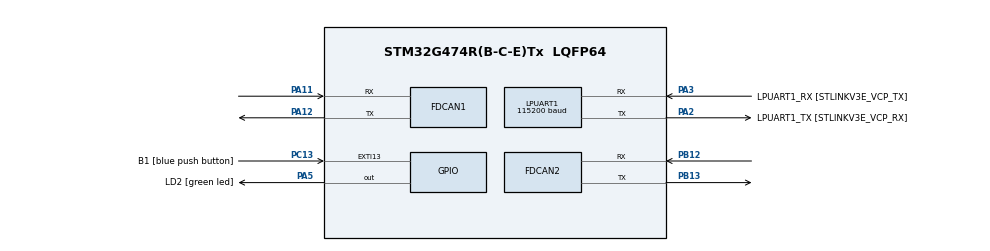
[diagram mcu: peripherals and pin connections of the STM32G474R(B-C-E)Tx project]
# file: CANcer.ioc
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FDCAN1.NominalPrescaler=3
FDCAN1.NominalSyncJumpWidth=8
FDCAN1.NominalTimeSeg1=35
FDCAN1.NominalTimeSeg2=20
FDCAN1.StdFiltersNbr=1
FDCAN2.NominalPrescaler=3
FDCAN2.NominalSyncJumpWidth=8
FDCAN2.NominalTimeSeg1=35
FDCAN2.NominalTimeSeg2=20
FDCAN2.StdFiltersNbr=1
LPUART1.BaudRate=115200
LPUART1.WordLength=UART_WORDLENGTH_8B
Mcu.Family=STM32G4
Mcu.Name=STM32G474R(B-C-E)Tx
Mcu.Package=LQFP64
NVIC.EXTI15_10_IRQn=true\:0\:0\:false\:false\:true\:true\:true
NVIC.FDCAN1_IT0_IRQn=true\:0\:0\:false\:false\:true\:true\:true
NVIC.FDCAN1_IT1_IRQn=true\:0\:0\:false\:false\:true\:true\:true
NVIC.FDCAN2_IT0_IRQn=true\:0\:0\:false\:false\:true\:true\:true
NVIC.FDCAN2_IT1_IRQn=true\:0\:0\:false\:false\:true\:true\:true
NVIC.PriorityGroup=NVIC_PRIORITYGROUP_4
PA11.Mode=FDCAN_Activate
PA11.Signal=FDCAN1_RX
PA12.Mode=FDCAN_Activate
PA12.Signal=FDCAN1_TX
PA13.GPIO_Label=T_SWDIO
PA13.Mode=Serial_Wire
PA13.Signal=SYS_JTMS-SWDIO
PA14.GPIO_Label=T_SWCLK
PA14.Mode=Serial_Wire
PA14.Signal=SYS_JTCK-SWCLK
PA2.GPIO_Label=LPUART1_TX [STLINKV3E_VCP_RX]
PA2.Mode=Asynchronous
PA2.Signal=LPUART1_TX
PA3.GPIO_Label=LPUART1_RX [STLINKV3E_VCP_TX]
PA3.Mode=Asynchronous
PA3.Signal=LPUART1_RX
PA5.GPIO_Label=LD2 [green led]
PA5.Signal=GPIO_Output
PB12.Mode=FDCAN_Activate
PB12.Signal=FDCAN2_RX
PB13.Mode=FDCAN_Activate
PB13.Signal=FDCAN2_TX
PB3.GPIO_Label=T_SWO
PB3.Signal=SYS_JTDO-SWO
PC13.GPIO_Label=B1 [blue push button]
PC13.Signal=GPXTI13
PC14-OSC32_IN.Mode=LSE-External-Oscillator
PC14-OSC32_IN.Signal=RCC_OSC32_IN
PC15-OSC32_OUT.Mode=LSE-External-Oscillator
PC15-OSC32_OUT.Signal=RCC_OSC32_OUT
PF0-OSC_IN.Mode=HSE-External-Oscillator
PF0-OSC_IN.Signal=RCC_OSC_IN
PF1-OSC_OUT.Mode=HSE-External-Oscillator
PF1-OSC_OUT.Signal=RCC_OSC_OUT
ProjectManager.HeapSize=0x200
ProjectManager.StackSize=0x400
ProjectManager.TargetToolchain=STM32CubeIDE
RCC.ADC12Freq_Value=170000000
RCC.ADC345Freq_Value=170000000
RCC.AHBFreq_Value=170000000
RCC.APB1Freq_Value=170000000
RCC.APB1TimFreq_Value=170000000
RCC.APB2Freq_Value=170000000
RCC.APB2TimFreq_Value=170000000
RCC.CortexFreq_Value=170000000
RCC.EXTERNAL_CLOCK_VALUE=12288000
RCC.HCLKFreq_Value=170000000
RCC.HSE_VALUE=24000000
RCC.HSI48_VALUE=48000000
RCC.HSI_VALUE=16000000
RCC.PLLM=RCC_PLLM_DIV4
RCC.PLLN=85
RCC.RTCClockSelection=RCC_RTCCLKSOURCE_LSE
RCC.SYSCLKFreq_VALUE=170000000
RCC.SYSCLKSource=RCC_SYSCLKSOURCE_PLLCLK
RCC.USBFreq_Value=170000000
RCC.VCOOutputFreq_Value=340000000
VP_SYS_VS_DBSignals.Mode=DisableDeadBatterySignals
board=NUCLEO-G474RE

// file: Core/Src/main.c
/* USER CODE BEGIN Header */
/**
  ******************************************************************************
  * @file           : main.c
  * @brief          : Main program body
  ******************************************************************************
  * @attention
  *
  * Copyright (c) 2022 STMicroelectronics.
  * All rights reserved.
  *
  * This software is licensed under terms that can be found in the LICENSE file
  * in the root directory of this software component.
  * If no LICENSE file comes with this software, it is provided AS-IS.
  *
  ******************************************************************************
  */
/* USER CODE END Header */
#include "main.h"
#include "fdcan.h"
#include "usart.h"
#include "gpio.h"

/* USER CODE BEGIN PV */
FDCAN_FilterTypeDef sFilterConfig;
FDCAN_TxHeaderTypeDef TxHeader;
FDCAN_RxHeaderTypeDef RxHeader;
uint8_t TxData[] = {0x10, 0x32, 0x54, 0x76, 0x98, 0x00, 0x11, 0x22};//, 0x33, 0x44, 0x55, 0x66, 0x77, 0x88, 0x99, 0x00
uint8_t RxData[8];
volatile uint32_t Instance = 1;
/* USER CODE END PV */

void SystemClock_Config(void);

int main(void)
{

  /* MCU Configuration--------------------------------------------------------*/

  /* Reset of all peripherals, Initializes the Flash interface and the Systick. */
  HAL_Init();

  /* Configure the system clock */
  SystemClock_Config();

  /* Initialize all configured peripherals */
  MX_GPIO_Init();
  MX_FDCAN1_Init();
  MX_FDCAN2_Init();
  MX_LPUART1_UART_Init();
  /* USER CODE BEGIN 2 */
  DEBUG_PRINT_LN("## FDCAN 1:");
  DEBUG_PRINT_LN("  pre %ld, nomts1 %ld, nomts2 %ld", hfdcan1.Init.NominalPrescaler, hfdcan1.Init.NominalTimeSeg1, hfdcan1.Init.NominalTimeSeg2);
  DEBUG_PRINT_LN("	msgram sdt filt address: %lx",  hfdcan1.msgRam.StandardFilterSA);
  DEBUG_PRINT_LN("	msgram ext filt address: %lx",  hfdcan1.msgRam.ExtendedFilterSA);
  DEBUG_PRINT_LN("	msgram fifo 0 address: %lx",    hfdcan1.msgRam.RxFIFO0SA);
  DEBUG_PRINT_LN("	msgram fifo 1 address: %lx",    hfdcan1.msgRam.RxFIFO1SA);

  DEBUG_PRINT_LN("\n## FDCAN 2:");
  DEBUG_PRINT_LN("  pre %ld, nomts1 %ld, nomts2 %ld", hfdcan2.Init.NominalPrescaler, hfdcan2.Init.NominalTimeSeg1, hfdcan2.Init.NominalTimeSeg2);
  DEBUG_PRINT_LN("	msgram sdt filt address: %lx",  hfdcan2.msgRam.StandardFilterSA);
  DEBUG_PRINT_LN("	msgram ext filt address: %lx",  hfdcan2.msgRam.ExtendedFilterSA);
  DEBUG_PRINT_LN("	msgram fifo 0 address: %lx",    hfdcan2.msgRam.RxFIFO0SA);
  DEBUG_PRINT_LN("	msgram fifo 1 address: %lx",    hfdcan2.msgRam.RxFIFO1SA);

  /* Configure reception filter to Rx FIFO 0 on both FDCAN instances */
  sFilterConfig.IdType = FDCAN_STANDARD_ID;
  sFilterConfig.FilterIndex = 1;
  sFilterConfig.FilterType = FDCAN_FILTER_MASK;
  sFilterConfig.FilterConfig = FDCAN_FILTER_TO_RXFIFO0;
  sFilterConfig.FilterID1 = 0x111;
  sFilterConfig.FilterID2 = 0x7FF;

  if (HAL_FDCAN_ConfigFilter(&hfdcan1, &sFilterConfig) != HAL_OK)
  {
    Error_Handler();
  }
  if (HAL_FDCAN_ConfigFilter(&hfdcan2, &sFilterConfig) != HAL_OK)
  {
    Error_Handler();
  }

  canPrintFilterConfig(hfdcan1.msgRam.StandardFilterSA);
  canPrintFilterConfig(hfdcan2.msgRam.StandardFilterSA);

  /* Configure global filter on both FDCAN instances:
     Filter all remote frames with STD and EXT ID
     Reject non matching frames with STD ID and EXT ID */
  if (HAL_FDCAN_ConfigGlobalFilter(&hfdcan1, FDCAN_ACCEPT_IN_RX_FIFO1, FDCAN_REJECT, FDCAN_REJECT_REMOTE, FDCAN_REJECT_REMOTE) != HAL_OK)
  {
    Error_Handler();
  }
  if (HAL_FDCAN_ConfigGlobalFilter(&hfdcan2, FDCAN_ACCEPT_IN_RX_FIFO1, FDCAN_REJECT, FDCAN_REJECT_REMOTE, FDCAN_REJECT_REMOTE) != HAL_OK)
  {
    Error_Handler();
  }

  /* Activate Rx FIFO 0 new message notification on both FDCAN instances */
  if (HAL_FDCAN_ActivateNotification(&hfdcan1, FDCAN_IT_RX_FIFO0_NEW_MESSAGE, 0) != HAL_OK)
  {
    Error_Handler();
  }
  if (HAL_FDCAN_ActivateNotification(&hfdcan2, FDCAN_IT_RX_FIFO0_NEW_MESSAGE, 0) != HAL_OK)
  {
    Error_Handler();
  }

  /* Activate Rx FIFO 0 new message notification on both FDCAN instances */
  if (HAL_FDCAN_ActivateNotification(&hfdcan1, FDCAN_IT_RX_FIFO1_NEW_MESSAGE, 0) != HAL_OK)
  {
    Error_Handler();
  }
  if (HAL_FDCAN_ActivateNotification(&hfdcan2, FDCAN_IT_RX_FIFO1_NEW_MESSAGE, 0) != HAL_OK)
  {
    Error_Handler();
  }

  /* Activate Rx FIFO 0 new message notification on both FDCAN instances */
  if (HAL_FDCAN_ActivateNotification(&hfdcan1, FDCAN_IT_RX_HIGH_PRIORITY_MSG, 0) != HAL_OK)
  {
    Error_Handler();
  }
  if (HAL_FDCAN_ActivateNotification(&hfdcan2, FDCAN_IT_RX_HIGH_PRIORITY_MSG, 0) != HAL_OK)
  {
    Error_Handler();
  }

  /* Prepare Tx message Header */
  TxHeader.Identifier = 0x111;
  TxHeader.IdType = FDCAN_STANDARD_ID;
  TxHeader.TxFrameType = FDCAN_DATA_FRAME;
  TxHeader.DataLength = FDCAN_DLC_BYTES_8;
  TxHeader.ErrorStateIndicator = FDCAN_ESI_ACTIVE;
  TxHeader.BitRateSwitch = FDCAN_BRS_OFF;
  TxHeader.FDFormat = FDCAN_FD_CAN;					//FDCAN_CLASSIC_CAN;
  TxHeader.TxEventFifoControl = FDCAN_NO_TX_EVENTS;
  TxHeader.MessageMarker = 0;

  /* Configure and enable Tx Delay Compensation, required for BRS mode.
     TdcOffset default recommended value: DataTimeSeg1 * DataPrescaler
     TdcFilter default recommended value: 0 */
  if (HAL_FDCAN_ConfigTxDelayCompensation(&hfdcan1, 5, 0) != HAL_OK)
  {
    Error_Handler();
  }
  if (HAL_FDCAN_ConfigTxDelayCompensation(&hfdcan2, 5, 0) != HAL_OK)
  {
    Error_Handler();
  }
  if (HAL_FDCAN_EnableTxDelayCompensation(&hfdcan1) != HAL_OK)
  {
    Error_Handler();
  }
  if (HAL_FDCAN_EnableTxDelayCompensation(&hfdcan2) != HAL_OK)
  {
    Error_Handler();
  }

  /* Start the FDCAN module on both FDCAN instances */
//  if (HAL_FDCAN_Start(&hfdcan1) != HAL_OK)
//  {
//    Error_Handler();
//  }
//  if (HAL_FDCAN_Start(&hfdcan2) != HAL_OK)
//  {
//    Error_Handler();
//  }
  canConfigurateNStart(&hfdcan1,1000000,1,66);
  canConfigurateNStart(&hfdcan2,1000000,1,66);

  DEBUG_PRINT_LN("Hello");

  /* USER CODE END 2 */

  /* Infinite loop */
  while (1)
  {

  }
}

void SystemClock_Config(void)
{
  LL_FLASH_SetLatency(LL_FLASH_LATENCY_4);
  while(LL_FLASH_GetLatency() != LL_FLASH_LATENCY_4)
  {
  }
  LL_PWR_EnableRange1BoostMode();
  LL_RCC_HSI_Enable();
   /* Wait till HSI is ready */
  while(LL_RCC_HSI_IsReady() != 1)
  {
  }

  LL_RCC_HSI_SetCalibTrimming(64);
  LL_RCC_PLL_ConfigDomain_SYS(LL_RCC_PLLSOURCE_HSI, LL_RCC_PLLM_DIV_4, 85, LL_RCC_PLLR_DIV_2);
  LL_RCC_PLL_EnableDomain_SYS();
  LL_RCC_PLL_Enable();
   /* Wait till PLL is ready */
  while(LL_RCC_PLL_IsReady() != 1)
  {
  }

  LL_RCC_SetSysClkSource(LL_RCC_SYS_CLKSOURCE_PLL);
  LL_RCC_SetAHBPrescaler(LL_RCC_SYSCLK_DIV_2);
   /* Wait till System clock is ready */
  while(LL_RCC_GetSysClkSource() != LL_RCC_SYS_CLKSOURCE_STATUS_PLL)
  {
  }

  /* Insure 1�s transition state at intermediate medium speed clock based on DWT */
  CoreDebug->DEMCR |= CoreDebug_DEMCR_TRCENA_Msk;
  DWT->CTRL |= DWT_CTRL_CYCCNTENA_Msk;
  DWT->CYCCNT = 0;
  while(DWT->CYCCNT < 100);
  /* Set AHB prescaler*/
  LL_RCC_SetAHBPrescaler(LL_RCC_SYSCLK_DIV_1);
  LL_RCC_SetAPB1Prescaler(LL_RCC_APB1_DIV_1);
  LL_RCC_SetAPB2Prescaler(LL_RCC_APB2_DIV_1);
  LL_SetSystemCoreClock(170000000);

   /* Update the time base */
  if (HAL_InitTick (TICK_INT_PRIORITY) != HAL_OK)
  {
    Error_Handler();
  }
}

/* USER CODE BEGIN 4 */

/**
  * @brief  Rx FIFO 0 callback.
  * @param  hfdcan pointer to an FDCAN_HandleTypeDef structure that contains
  *         the configuration information for the specified FDCAN.
  * @param  RxFifo0ITs indicates which Rx FIFO 0 interrupts are signaled.
  *         This parameter can be any combination of @arg FDCAN_Rx_Fifo0_Interrupts.
  * @retval None
  */
void HAL_FDCAN_RxFifo0Callback(FDCAN_HandleTypeDef *hfdcan, uint32_t RxFifo0ITs)
{
  if((RxFifo0ITs & FDCAN_IT_RX_FIFO0_NEW_MESSAGE) != 0)
  {
    /* Retrieve Rx messages from RX FIFO0 */
	if (HAL_FDCAN_GetRxMessage(hfdcan, FDCAN_RX_FIFO0, &RxHeader, RxData) != HAL_OK)
	{
	  Error_Handler();
	}

	if (hfdcan->Instance == FDCAN1)
	{
	  DEBUG_PRINT("fdcan 1;")
	}
	else /* FDCAN2 */
	{
	  DEBUG_PRINT("fdcan 2;")
	}

	DEBUG_PRINT(" fifo 0; msg_id %lx; ", RxHeader.Identifier);
	for(uint8_t i = 0; i<8; i++){
		DEBUG_PRINT("%02x:", RxData[i]);
	}
	DEBUG_PRINT_LN(" ");
  }
}

void HAL_FDCAN_RxFifo1Callback(FDCAN_HandleTypeDef *hfdcan, uint32_t RxFifo0ITs)
{
  if((RxFifo0ITs & FDCAN_IT_RX_FIFO1_NEW_MESSAGE) != 0)
  {
    /* Retrieve Rx messages from RX FIFO0 */
    if (HAL_FDCAN_GetRxMessage(hfdcan, FDCAN_RX_FIFO1, &RxHeader, RxData) != HAL_OK)
    {
      Error_Handler();
    }

	if (hfdcan->Instance == FDCAN1)
	{
	  DEBUG_PRINT("fdcan 1;")
	}
	else /* FDCAN2 */
	{
	  DEBUG_PRINT("fdcan 2;")
	}

	DEBUG_PRINT(" fifo 1; msg_id %lx; ", RxHeader.Identifier);
	for(uint8_t i = 0; i<8; i++){
		DEBUG_PRINT("%02x:", RxData[i]);
	}
	DEBUG_PRINT_LN(" ");
  }
}

void HAL_FDCAN_HighPriorityMessageCallback(FDCAN_HandleTypeDef *hfdcan)
{

	if (hfdcan->Instance == FDCAN1)
	{
	  DEBUG_PRINT("fdcan 1 ");
	}
	else /* FDCAN2 */
	{
	  DEBUG_PRINT("fdcan 2 ");
	}
	DEBUG_PRINT(": this was a HP message");

}

/**
  * @brief EXTI line detection callback
  * @param GPIO_Pin: Specifies the pins connected EXTI line
  * @retval None
  */
void GPIO_EXTI_Callback(uint16_t GPIO_Pin)
{

	DEBUG_PRINT_LN("button pressed: Instance %ld", Instance);
  if (GPIO_Pin == B1_Pin)
  {
    /* Turn LED1 and LED4 off */

    /* Check which FDCAN instance is selected to send message */
    if (Instance == 1)
	{
      /* Add message to TX FIFO of FDCAN instance 1 */
      if (HAL_FDCAN_AddMessageToTxFifoQ(&hfdcan1, &TxHeader, TxData) != HAL_OK)
      {
        Error_Handler();
      }

      /* Toggle FDCAN instance */
      Instance = 2;
    }
    else /* Instance = 2 */
    {
      /* Add message to TX FIFO of FDCAN instance 2 */
      if (HAL_FDCAN_AddMessageToTxFifoQ(&hfdcan2, &TxHeader, TxData) != HAL_OK)
      {
        Error_Handler();
      }

      /* Toggle FDCAN instance */
      Instance = 1;
    }

    /* Delay to avoid rebound */
//    HAL_Delay(100);
  }
}

/* USER CODE END 4 */

void Error_Handler(void)
{
  /* USER CODE BEGIN Error_Handler_Debug */
  /* User can add his own implementation to report the HAL error return state */
  __disable_irq();
  DEBUG_PRINT_LN(" You reached the end of support ... bye")
  while (1)
  {
  }
  /* USER CODE END Error_Handler_Debug */
}
